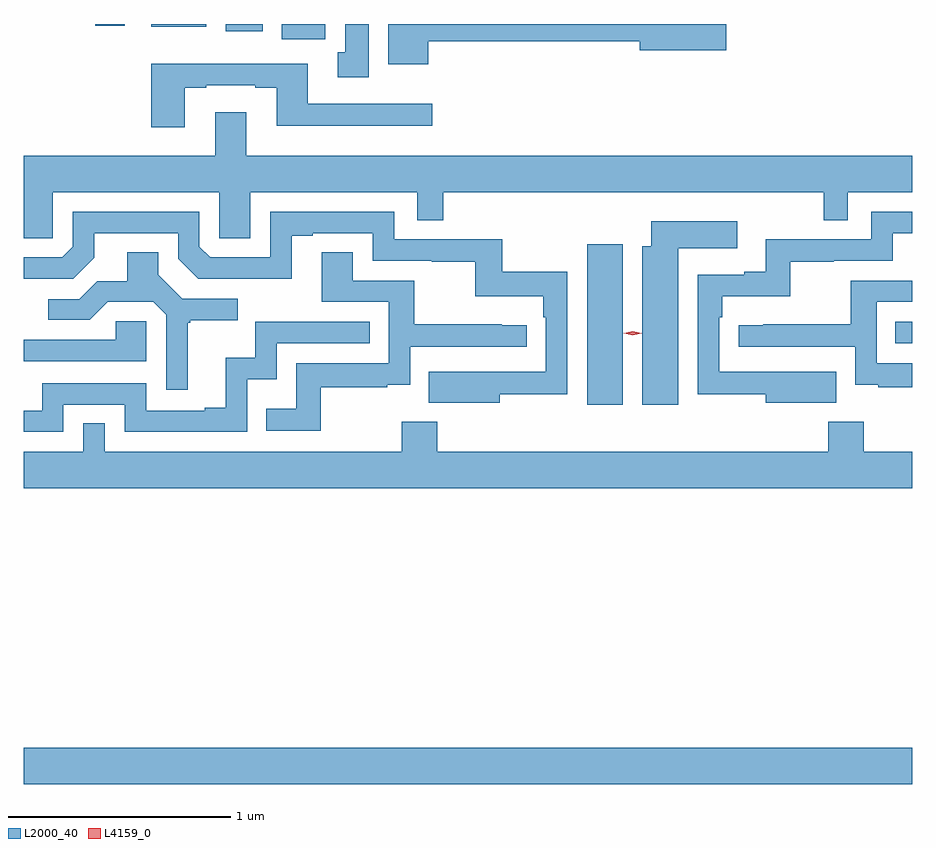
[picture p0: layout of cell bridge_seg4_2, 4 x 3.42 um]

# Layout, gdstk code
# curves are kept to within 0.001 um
import gdstk
lib = gdstk.Library(unit=1e-6, precision=1e-09)
def R(c, l, rs):  # rectangles x0, y0, x1, y1
    for r in rs: c.add(gdstk.rectangle(r[:2], r[2:], *l))
def P(c, l, *ps):  # polygons
    for p in ps: c.add(gdstk.Polygon(p, *l))
L2000_40 = (2000, 40)
L4159_0 = (4159, 0)

bridge_seg4_2 = lib.new_cell('bridge_seg4_2')
R(bridge_seg4_2, L2000_40, [(983.083,772.844,987.083,773.008), (985.619,774.552,985.78,775.273), (987.007,774.828,987.083,774.924), (984.245,776.196,984.441,776.265), (983.993,776.232,984.16,776.265), (983.658,776.252,983.905,776.265), (983.406,776.258,983.538,776.265)])
P(bridge_seg4_2, L2000_40, [(984.904,776.188),(985.856,776.188),(985.856,776.146),(986.245,776.146),(986.245,776.265),(984.725,776.265),(984.725,776.084),(984.904,776.084)],
  [(984.637,776.265),(984.53,776.265),(984.53,776.137),(984.497,776.137),(984.497,776.025),(984.637,776.025)],
  [(983.809,775.977),(983.905,775.977),(983.905,775.989),(984.125,775.989),(984.125,775.977),(984.221,775.977),(984.221,775.808),(984.922,775.808),(984.922,775.905),(984.361,775.905),(984.361,776.086),(983.657,776.086),(983.657,775.8),(983.809,775.8)],
  [(983.214,775.508),(983.964,775.508),(983.964,775.3),(984.103,775.3),(984.103,775.508),(984.855,775.508),(984.855,775.381),(984.971,775.381),(984.971,775.508),(986.685,775.508),(986.685,775.381),(986.793,775.381),(986.793,775.508),(987.083,775.508),(987.083,775.672),(984.085,775.672),(984.085,775.867),(983.945,775.867),(983.945,775.672),(983.083,775.672),(983.083,775.3),(983.214,775.3)],
  [(986.741,774.7),(986.527,774.7),(986.527,774.699),(986.214,774.699),(986.214,774.944),(986.228,774.944),(986.228,775.04),(986.533,775.04),(986.533,775.195),(986.729,775.195),(986.729,775.2),(986.994,775.2),(986.994,775.323),(987.083,775.323),(987.083,775.419),(986.898,775.419),(986.898,775.296),(986.424,775.296),(986.424,775.15),(986.327,775.15),(986.327,775.137),(986.118,775.137),(986.118,774.598),(986.423,774.598),(986.423,774.56),(986.741,774.56)],
  [(985.225,774.598),(985.53,774.598),(985.53,775.15),(985.237,775.15),(985.237,775.296),(984.75,775.296),(984.75,775.419),(984.192,775.419),(984.192,775.215),(983.922,775.215),(983.874,775.263),(983.874,775.419),(983.304,775.419),(983.304,775.263),(983.256,775.215),(983.083,775.215),(983.083,775.119),(983.307,775.119),(983.401,775.213),(983.401,775.323),(983.778,775.323),(983.778,775.209),(983.868,775.119),(984.289,775.118),(984.289,775.311),(984.385,775.311),(984.385,775.323),(984.654,775.323),(984.654,775.2),(984.919,775.2),(984.919,775.195),(985.116,775.195),(985.116,775.04),(985.421,775.04),(985.421,774.944),(985.434,774.944),(985.434,774.699),(984.907,774.7),(984.907,774.56),(985.225,774.56)],
  [(986.029,775.256),(986.296,775.256),(986.296,775.378),(985.907,775.378),(985.907,775.264),(985.868,775.264),(985.868,774.552),(986.029,774.552)],
  [(984.421,774.63),(984.719,774.63),(984.719,774.641),(984.822,774.641),(984.822,774.813),(985.348,774.813),(985.348,774.909),(985.235,774.909),(985.235,774.914),(984.842,774.914),(984.842,775.11),(984.565,775.11),(984.565,775.238),(984.425,775.238),(984.425,775.014),(984.726,775.014),(984.726,774.738),(984.31,774.738),(984.31,774.532),(984.175,774.532),(984.175,774.435),(984.421,774.435)],
  [(983.821,774.921),(983.833,774.921),(983.833,774.932),(984.046,774.932),(984.046,775.029),(983.796,775.029),(983.689,775.136),(983.689,775.238),(983.549,775.238),(983.549,775.106),(983.414,775.106),(983.334,775.026),(983.193,775.026),(983.193,774.933),(983.38,774.933),(983.461,775.014),(983.667,775.014),(983.724,774.957),(983.724,774.618),(983.821,774.618)],
  [(987.083,774.738),(986.922,774.738),(986.922,775.014),(987.083,775.014),(987.083,775.11),(986.806,775.11),(986.806,774.914),(986.413,774.914),(986.413,774.909),(986.301,774.909),(986.301,774.813),(986.826,774.813),(986.826,774.641),(986.929,774.641),(986.929,774.63),(987.083,774.63)],
  [(983.634,774.927),(983.497,774.927),(983.497,774.843),(983.083,774.843),(983.083,774.747),(983.634,774.747)],
  [(983.262,774.552),(983.538,774.552),(983.538,774.429),(984.09,774.429),(984.09,774.665),(984.222,774.665),(984.222,774.828),(984.641,774.828),(984.641,774.924),(984.126,774.924),(984.126,774.763),(983.993,774.763),(983.993,774.538),(983.897,774.538),(983.897,774.525),(983.634,774.525),(983.634,774.648),(983.166,774.648),(983.166,774.525),(983.083,774.525),(983.083,774.429),(983.262,774.429)],
  [(987.083,774.34),(986.865,774.34),(986.865,774.475),(986.705,774.475),(986.705,774.34),(984.944,774.34),(984.944,774.475),(984.784,774.475),(984.784,774.34),(983.448,774.34),(983.448,774.467),(983.352,774.467),(983.352,774.34),(983.083,774.34),(983.083,774.176),(987.083,774.176)])
P(bridge_seg4_2, L4159_0, [(985.824,774.863),(985.784,774.873),(985.784,774.873),(985.784,774.874),(985.824,774.883),(985.864,774.874),(985.864,774.873),(985.864,774.873)])

lib.write_gds('bridge_seg4_2.gds')
